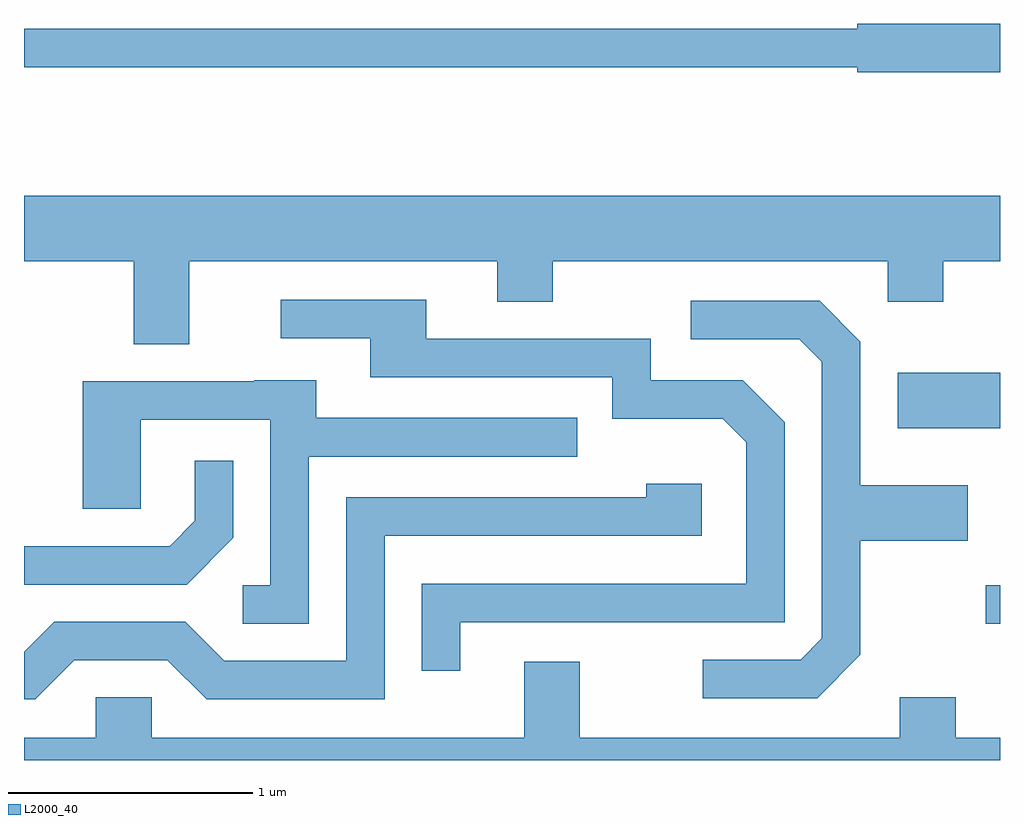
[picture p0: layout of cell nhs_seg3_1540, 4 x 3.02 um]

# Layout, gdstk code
import gdstk
lib = gdstk.Library(unit=1e-6, precision=1e-09)
def R(c, l, rs):  # rectangles x0, y0, x1, y1
    for r in rs: c.add(gdstk.rectangle(r[:2], r[2:], *l))
def P(c, l, *ps):  # polygons
    for p in ps: c.add(gdstk.Polygon(p, *l))
L2000_40 = (2000, 40)

nhs_seg3_1540 = lib.new_cell('nhs_seg3_1540')
R(nhs_seg3_1540, L2000_40, [(233.553,1204.451,233.611,1204.609), (233.191,1205.251,233.611,1205.479)])
P(nhs_seg3_1540, L2000_40, [(233.611,1206.909),(233.026,1206.909),(233.026,1206.889),(229.611,1206.889),(229.611,1206.731),(233.026,1206.731),(233.026,1206.711),(233.611,1206.711)],
  [(230.289,1205.936),(231.551,1205.936),(231.551,1205.771),(231.779,1205.771),(231.779,1205.936),(233.151,1205.936),(233.151,1205.771),(233.379,1205.771),(233.379,1205.936),(233.611,1205.936),(233.611,1206.204),(229.611,1206.204),(229.611,1205.936),(230.061,1205.936),(230.061,1205.596),(230.289,1205.596)],
  [(231.399,1204.456),(232.729,1204.456),(232.729,1205.277),(232.557,1205.449),(232.179,1205.449),(232.179,1205.619),(231.259,1205.619),(231.259,1205.779),(230.663,1205.779),(230.663,1205.621),(231.031,1205.621),(231.031,1205.461),(232.021,1205.461),(232.021,1205.291),(232.474,1205.291),(232.571,1205.194),(232.571,1204.614),(231.241,1204.614),(231.241,1204.258),(231.399,1204.258)],
  [(233.039,1204.324),(233.039,1204.791),(233.479,1204.791),(233.479,1205.019),(233.039,1205.019),(233.039,1205.607),(232.872,1205.774),(232.343,1205.774),(232.343,1205.616),(232.789,1205.616),(232.881,1205.524),(232.881,1204.392),(232.794,1204.304),(232.393,1204.304),(232.393,1204.146),(232.862,1204.146)],
  [(230.779,1205.136),(231.878,1205.136),(231.878,1205.294),(230.809,1205.294),(230.809,1205.449),(230.555,1205.449),(230.555,1205.444),(229.851,1205.444),(229.851,1204.921),(230.089,1204.921),(230.089,1205.286),(230.621,1205.286),(230.621,1204.609),(230.508,1204.609),(230.508,1204.451),(230.779,1204.451)],
  [(230.469,1204.804),(230.469,1205.118),(230.311,1205.118),(230.311,1204.872),(230.209,1204.769),(229.611,1204.769),(229.611,1204.611),(230.277,1204.611)],
  [(229.817,1204.301),(230.199,1204.301),(230.359,1204.141),(231.089,1204.141),(231.089,1204.811),(232.389,1204.811),(232.389,1205.024),(232.161,1205.024),(232.161,1204.969),(230.931,1204.969),(230.931,1204.299),(230.432,1204.299),(230.272,1204.459),(229.734,1204.459),(229.611,1204.336),(229.611,1204.141),(229.657,1204.141)],
  [(233.611,1203.984),(233.429,1203.984),(233.429,1204.149),(233.201,1204.149),(233.201,1203.984),(231.889,1203.984),(231.889,1204.294),(231.661,1204.294),(231.661,1203.984),(230.134,1203.984),(230.134,1204.149),(229.906,1204.149),(229.906,1203.984),(229.611,1203.984),(229.611,1203.892),(233.611,1203.892)])

lib.write_gds('nhs_seg3_1540.gds')
